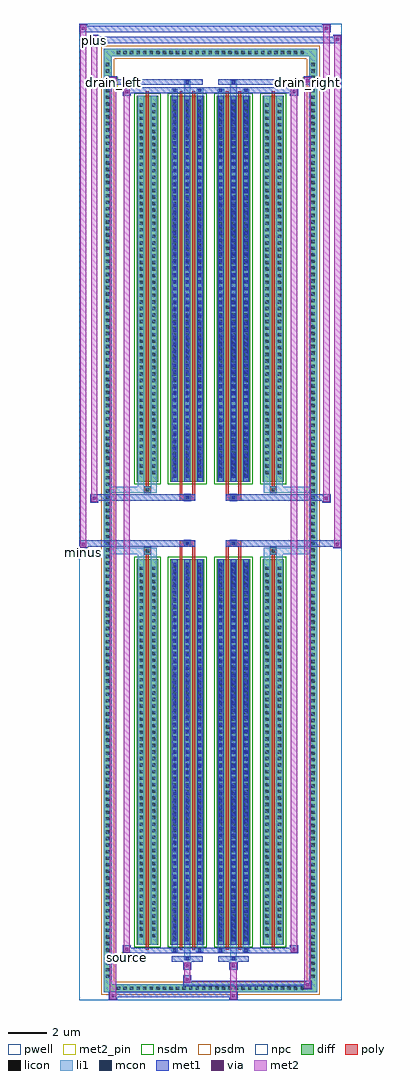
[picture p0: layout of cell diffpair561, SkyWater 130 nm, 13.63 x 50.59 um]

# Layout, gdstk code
import gdstk
lib = gdstk.Library(unit=1e-6, precision=5e-09)
def R(c, l, rs):  # rectangles x0, y0, x1, y1
    for r in rs: c.add(gdstk.rectangle(r[:2], r[2:], *l))
def A(c, l, x, y, w, h, nx, ny, dx, dy):  # array of equal rectangles
    R(c, l, [(x+i*dx, y+j*dy, x+i*dx+w, y+j*dy+h) for i in range(nx) for j in range(ny)])
def P(c, l, *ps):  # polygons
    for p in ps: c.add(gdstk.Polygon(p, *l))
pwell = (64, 44)
diff = (65, 20)
poly = (66, 20)
licon = (66, 44)
li1 = (67, 20)
mcon = (67, 44)
met1 = (68, 20)
via = (68, 44)
met2_pin = (69, 16)
met2 = (69, 20)
nsdm = (93, 44)
psdm = (94, 20)
npc = (95, 20)

diffpair561 = lib.new_cell('diffpair561')
R(diffpair561, pwell, [(-6.8,-24.86,6.8,25.73), (-4.12,-23.05,-0.01,-0.825), (0.01,-23.05,4.12,-0.825), (-4.12,0.825,-0.01,23.05), (0.01,0.825,4.12,23.05)])
A(diffpair561, diff, -4.965, -24.46, 0.41, 0.41, 29, 2, 0.34, 48.51)
A(diffpair561, diff, -5.53, -23.835, 0.41, 0.41, 1, 140, 0, 0.34)
A(diffpair561, diff, 5.12, -23.835, 0.41, 0.41, 1, 140, 0, 0.34)
R(diffpair561, diff, [(-4.965,-24.46,4.965,-24.05), (-5.53,-23.835,-5.12,23.835), (5.12,-23.835,5.53,23.835), (-3.81,-22.005,-2.71,-2.005), (-2.07,-22.005,-0.32,-2.005), (0.32,-22.005,2.07,-2.005), (2.71,-22.005,3.81,-2.005), (-3.81,2.005,-2.71,22.005), (-2.07,2.005,-0.32,22.005), (0.32,2.005,2.07,22.005), (2.71,2.005,3.81,22.005), (-4.965,24.05,4.965,24.46)])
P(diffpair561, diff, [(5.53,24.46),(-5.53,24.46),(-5.53,-24.05),(-5.12,-24.05),(-5.12,24.05),(5.12,24.05),(5.12,-24.05),(-5.12,-24.05),(-5.53,-24.05),(-5.53,-24.46),(5.53,-24.46)])
R(diffpair561, poly, [(-3.335,-22.255,-3.185,-1.755), (-1.595,-22.255,-1.445,-1.755), (-0.945,-22.255,-0.795,-1.755), (0.795,-22.255,0.945,-1.755), (1.445,-22.255,1.595,-1.755), (3.185,-22.255,3.335,-1.755), (-3.425,-1.755,-3.095,-1.425), (-3.425,-1.755,-3.095,-1.425), (-1.595,-1.755,-1.445,-1.355), (-0.945,-1.755,-0.795,-1.355), (0.795,-1.755,0.945,-1.355), (1.445,-1.755,1.595,-1.355), (3.095,-1.755,3.425,-1.425), (3.095,-1.755,3.425,-1.425), (-1.595,-1.355,-0.795,-1.025), (-1.36,-1.355,-1.03,-1.025), (0.795,-1.355,1.595,-1.025), (1.03,-1.355,1.36,-1.025), (-1.595,1.025,-0.795,1.355), (-1.36,1.025,-1.03,1.355), (0.795,1.025,1.595,1.355), (1.03,1.025,1.36,1.355), (-1.595,1.355,-1.445,1.755), (-0.945,1.355,-0.795,1.755), (0.795,1.355,0.945,1.755), (1.445,1.355,1.595,1.755), (-3.425,1.425,-3.095,1.755), (-3.425,1.425,-3.095,1.755), (3.095,1.425,3.425,1.755), (3.095,1.425,3.425,1.755), (-3.335,1.755,-3.185,22.255), (-1.595,1.755,-1.445,22.255), (-0.945,1.755,-0.795,22.255), (0.795,1.755,0.945,22.255), (1.445,1.755,1.595,22.255), (3.185,1.755,3.335,22.255)])
A(diffpair561, licon, -4.845, -24.34, 0.17, 0.17, 29, 2, 0.34, 48.51)
A(diffpair561, licon, -5.41, -23.715, 0.17, 0.17, 1, 140, 0, 0.34)
A(diffpair561, licon, 5.24, -23.715, 0.17, 0.17, 1, 140, 0, 0.34)
A(diffpair561, licon, -3.67, -21.61, 0.17, 0.17, 1, 57, 0, 0.34)
A(diffpair561, licon, -3.02, -21.61, 0.17, 0.17, 1, 57, 0, 0.34)
A(diffpair561, licon, -1.93, -21.61, 0.17, 0.17, 3, 57, 0.65, 0.34)
A(diffpair561, licon, 0.46, -21.61, 0.17, 0.17, 3, 57, 0.65, 0.34)
A(diffpair561, licon, 2.85, -21.61, 0.17, 0.17, 1, 57, 0, 0.34)
A(diffpair561, licon, 3.5, -21.61, 0.17, 0.17, 1, 57, 0, 0.34)
A(diffpair561, licon, -3.67, 2.4, 0.17, 0.17, 1, 57, 0, 0.34)
A(diffpair561, licon, -3.02, 2.4, 0.17, 0.17, 1, 57, 0, 0.34)
A(diffpair561, licon, -1.93, 2.4, 0.17, 0.17, 3, 57, 0.65, 0.34)
A(diffpair561, licon, 0.46, 2.4, 0.17, 0.17, 3, 57, 0.65, 0.34)
A(diffpair561, licon, 2.85, 2.4, 0.17, 0.17, 1, 57, 0, 0.34)
A(diffpair561, licon, 3.5, 2.4, 0.17, 0.17, 1, 57, 0, 0.34)
R(diffpair561, licon, [(-3.345,-1.675,-3.175,-1.505), (3.175,-1.675,3.345,-1.505), (-1.28,-1.275,-1.11,-1.105), (1.11,-1.275,1.28,-1.105), (-1.28,1.105,-1.11,1.275), (1.11,1.105,1.28,1.275), (-3.345,1.505,-3.175,1.675), (3.175,1.505,3.345,1.675)])
A(diffpair561, li1, -4.925, -24.42, 0.33, 0.33, 29, 2, 0.34, 48.51)
A(diffpair561, li1, -5.49, -23.795, 0.33, 0.33, 1, 140, 0, 0.34)
A(diffpair561, li1, 5.16, -23.795, 0.33, 0.33, 1, 140, 0, 0.34)
A(diffpair561, li1, -2.01, -22.005, 0.33, 20, 3, 2, 0.65, 24.01)
A(diffpair561, li1, 0.38, -22.005, 0.33, 20, 3, 2, 0.65, 24.01)
A(diffpair561, li1, -1.93, -21.81, 0.17, 0.17, 3, 55, 0.65, 0.36)
A(diffpair561, li1, -1.93, -21.81, 0.17, 19.61, 3, 2, 0.65, 24.01)
A(diffpair561, li1, 0.46, -21.81, 0.17, 0.17, 3, 55, 0.65, 0.36)
A(diffpair561, li1, 0.46, -21.81, 0.17, 19.61, 3, 2, 0.65, 24.01)
A(diffpair561, li1, -3.75, -21.69, 0.33, 0.33, 1, 57, 0, 0.34)
A(diffpair561, li1, -3.1, -21.69, 0.33, 0.33, 1, 57, 0, 0.34)
A(diffpair561, li1, -2.01, -21.69, 0.33, 0.33, 3, 57, 0.65, 0.34)
A(diffpair561, li1, 0.38, -21.69, 0.33, 0.33, 3, 57, 0.65, 0.34)
A(diffpair561, li1, 2.77, -21.69, 0.33, 0.33, 1, 57, 0, 0.34)
A(diffpair561, li1, 3.42, -21.69, 0.33, 0.33, 1, 57, 0, 0.34)
A(diffpair561, li1, -1.93, 2.2, 0.17, 0.17, 3, 55, 0.65, 0.36)
A(diffpair561, li1, 0.46, 2.2, 0.17, 0.17, 3, 55, 0.65, 0.36)
A(diffpair561, li1, -3.75, 2.32, 0.33, 0.33, 1, 57, 0, 0.34)
A(diffpair561, li1, -3.1, 2.32, 0.33, 0.33, 1, 57, 0, 0.34)
A(diffpair561, li1, -2.01, 2.32, 0.33, 0.33, 3, 57, 0.65, 0.34)
A(diffpair561, li1, 0.38, 2.32, 0.33, 0.33, 3, 57, 0.65, 0.34)
A(diffpair561, li1, 2.77, 2.32, 0.33, 0.33, 1, 57, 0, 0.34)
A(diffpair561, li1, 3.42, 2.32, 0.33, 0.33, 1, 57, 0, 0.34)
R(diffpair561, li1, [(-5.53,-24.46,-5.12,-24.05), (-5.53,-24.46,-5.12,-24.05), (-5.12,-24.46,5.12,-24.05), (5.12,-24.46,5.53,-24.05), (5.12,-24.46,5.53,-24.05), (-5.53,-24.05,-5.12,24.05), (5.12,-24.05,5.53,24.05), (-1.36,-22.81,-1.03,-22.005), (-1.28,-22.81,-1.11,-22.64), (1.03,-22.81,1.36,-22.005), (1.11,-22.81,1.28,-22.64), (-2.01,-22.38,-1.68,-22.005), (-1.93,-22.38,-1.76,-22.21), (-0.71,-22.38,-0.38,-22.005), (-0.63,-22.38,-0.46,-22.21), (0.38,-22.38,0.71,-22.005), (0.46,-22.38,0.63,-22.21), (1.68,-22.38,2.01,-22.005), (1.76,-22.38,1.93,-22.21), (-3.75,-22.005,-3.42,-2.005), (-3.1,-22.005,-2.77,-2.005), (2.77,-22.005,3.1,-2.005), (3.42,-22.005,3.75,-2.005), (-3.75,-2.005,-3.42,-1.425), (-3.1,-2.005,-2.77,-1.425), (2.77,-2.005,3.1,-1.425), (3.42,-2.005,3.75,-1.425), (-5.53,-1.755,-3.425,-1.425), (-3.75,-1.755,-3.425,-1.425), (-3.425,-1.755,-3.095,-1.425), (-3.095,-1.755,-2.77,-1.425), (2.77,-1.755,3.095,-1.425), (3.095,-1.755,3.425,-1.425), (3.095,-1.755,5.53,-1.425), (3.425,-1.755,3.75,-1.425), (-1.36,-1.355,-1.03,-1.025), (1.03,-1.355,1.36,-1.025), (-1.36,1.025,-1.03,1.355), (1.03,1.025,1.36,1.355), (-5.53,1.425,-3.425,1.755), (-3.75,1.425,-3.425,1.755), (-3.75,1.425,-3.42,2.005), (-3.425,1.425,-3.095,1.755), (-3.1,1.425,-2.77,2.005), (-3.095,1.425,-2.77,1.755), (2.77,1.425,3.095,1.755), (2.77,1.425,3.1,2.005), (3.095,1.425,3.425,1.755), (3.095,1.425,5.53,1.755), (3.42,1.425,3.75,2.005), (3.425,1.425,3.75,1.755), (-3.75,2.005,-3.42,22.005), (-3.1,2.005,-2.77,22.005), (2.77,2.005,3.1,22.005), (3.42,2.005,3.75,22.005), (-2.01,22.005,-1.68,22.38), (-1.36,22.005,-1.03,22.81), (-0.71,22.005,-0.38,22.38), (0.38,22.005,0.71,22.38), (1.03,22.005,1.36,22.81), (1.68,22.005,2.01,22.38), (-1.93,22.21,-1.76,22.38), (-0.63,22.21,-0.46,22.38), (0.46,22.21,0.63,22.38), (1.76,22.21,1.93,22.38), (-1.28,22.64,-1.11,22.81), (1.11,22.64,1.28,22.81), (-5.53,24.05,-5.12,24.46), (-5.53,24.05,-5.12,24.46), (-5.12,24.05,5.12,24.46), (5.12,24.05,5.53,24.46), (5.12,24.05,5.53,24.46)])
A(diffpair561, mcon, -1.93, -21.81, 0.17, 0.17, 3, 55, 0.65, 0.36)
A(diffpair561, mcon, 0.46, -21.81, 0.17, 0.17, 3, 55, 0.65, 0.36)
A(diffpair561, mcon, -1.93, 2.2, 0.17, 0.17, 3, 55, 0.65, 0.36)
A(diffpair561, mcon, 0.46, 2.2, 0.17, 0.17, 3, 55, 0.65, 0.36)
R(diffpair561, mcon, [(-1.28,-22.81,-1.11,-22.64), (1.11,-22.81,1.28,-22.64), (-1.93,-22.38,-1.76,-22.21), (-0.63,-22.38,-0.46,-22.21), (0.46,-22.38,0.63,-22.21), (1.76,-22.38,1.93,-22.21), (-1.28,-1.275,-1.11,-1.105), (1.11,-1.275,1.28,-1.105), (-1.28,1.105,-1.11,1.275), (1.11,1.105,1.28,1.275), (-1.93,22.21,-1.76,22.38), (-0.63,22.21,-0.46,22.38), (0.46,22.21,0.63,22.38), (1.76,22.21,1.93,22.38), (-1.28,22.64,-1.11,22.81), (1.11,22.64,1.28,22.81)])
A(diffpair561, met1, -1.99, -22.005, 0.29, 20, 3, 2, 0.65, 24.01)
A(diffpair561, met1, 0.4, -22.005, 0.29, 20, 3, 2, 0.65, 24.01)
A(diffpair561, met1, -1.99, -21.87, 0.29, 0.29, 3, 55, 0.65, 0.36)
A(diffpair561, met1, 0.4, -21.87, 0.29, 0.29, 3, 55, 0.65, 0.36)
A(diffpair561, met1, -1.99, 2.14, 0.29, 0.29, 3, 55, 0.65, 0.36)
A(diffpair561, met1, 0.4, 2.14, 0.29, 0.29, 3, 55, 0.65, 0.36)
R(diffpair561, met1, [(-5.26,-24.86,-4.83,-24.43), (0.98,-24.86,1.41,-24.43), (-5.26,-24.72,1.41,-24.43), (4.83,-24.29,5.26,-23.86), (-1.41,-24.15,5.26,-23.86), (-1.41,-24.01,-0.98,-23.58), (-1.41,-23.3,-0.98,-22.87), (0.98,-23.3,1.41,-22.87), (-1.99,-22.87,-0.4,-22.58), (-1.34,-22.87,-1.05,-22.58), (0.4,-22.87,1.99,-22.58), (1.05,-22.87,1.34,-22.58), (-4.55,-22.44,-4.12,-22.01), (-4.55,-22.44,-1.99,-22.15), (-1.99,-22.44,-1.7,-22.15), (-1.99,-22.44,-0.4,-22.15), (-0.69,-22.44,-0.4,-22.15), (-0.4,-22.44,0.4,-22.15), (0.4,-22.44,0.69,-22.15), (0.4,-22.44,1.99,-22.15), (1.7,-22.44,1.99,-22.15), (1.99,-22.44,4.55,-22.15), (4.12,-22.44,4.55,-22.01), (-6.8,-1.455,-6.37,-1.025), (6.37,-1.455,6.8,-1.025), (-6.8,-1.355,-0.795,-1.025), (-1.595,-1.355,-0.795,-1.025), (0.795,-1.355,1.595,-1.025), (0.795,-1.355,6.8,-1.025), (-1.34,-1.335,-1.05,-1.045), (1.05,-1.335,1.34,-1.045), (-6.23,0.925,-5.8,1.355), (5.8,0.925,6.23,1.355), (-6.23,1.025,-1.595,1.355), (-1.595,1.025,-0.795,1.355), (0.795,1.025,1.595,1.355), (1.595,1.025,6.23,1.355), (-1.34,1.045,-1.05,1.335), (1.05,1.045,1.34,1.335), (-4.55,22.01,-4.12,22.44), (4.12,22.01,4.55,22.44), (-4.55,22.15,-1.99,22.44), (-1.99,22.15,-1.7,22.44), (-1.99,22.15,-0.4,22.44), (-0.69,22.15,-0.4,22.44), (-0.4,22.15,0.4,22.44), (0.4,22.15,0.69,22.44), (0.4,22.15,1.99,22.44), (1.7,22.15,1.99,22.44), (1.99,22.15,4.55,22.44), (-5.26,22.58,-4.83,23.01), (-5.26,22.58,-1.99,22.87), (-1.99,22.58,-0.4,22.87), (-1.34,22.58,-1.05,22.87), (0.4,22.58,1.99,22.87), (1.05,22.58,1.34,22.87), (1.99,22.58,5.26,22.87), (4.83,22.58,5.26,23.01), (-6.23,24.73,-5.8,25.16), (-6.23,24.73,-4.12,25.06), (-4.12,24.73,4.12,25.06), (4.12,24.73,6.8,25.06), (6.37,24.73,6.8,25.16), (-6.8,25.3,-6.37,25.73), (-6.8,25.3,-4.12,25.63), (-4.12,25.3,4.12,25.63), (4.12,25.3,6.23,25.63), (5.8,25.3,6.23,25.73)])
R(diffpair561, via, [(-5.12,-24.72,-4.97,-24.57), (1.12,-24.72,1.27,-24.57), (4.97,-24.15,5.12,-24), (-1.27,-23.87,-1.12,-23.72), (-1.27,-23.16,-1.12,-23.01), (1.12,-23.16,1.27,-23.01), (-4.41,-22.3,-4.26,-22.15), (4.26,-22.3,4.41,-22.15), (-6.66,-1.315,-6.51,-1.165), (6.51,-1.315,6.66,-1.165), (-6.09,1.065,-5.94,1.215), (5.94,1.065,6.09,1.215), (-4.41,22.15,-4.26,22.3), (4.26,22.15,4.41,22.3), (-5.12,22.72,-4.97,22.87), (4.97,22.72,5.12,22.87), (-6.09,24.87,-5.94,25.02), (6.51,24.87,6.66,25.02), (-6.66,25.44,-6.51,25.59), (5.94,25.44,6.09,25.59)])
R(diffpair561, met2_pin, [(-4.585,-22.89,-4.085,-22.39), (-6.835,-1.905,-6.335,-1.405), (-5.295,22.46,-4.795,22.96), (4.795,22.46,5.295,22.96), (-6.265,24.61,-5.765,25.11)])
R(diffpair561, met2, [(-5.21,-24.81,-4.88,-24.48), (-5.21,-24.81,-4.88,22.96), (1.03,-24.81,1.36,-24.48), (1.03,-24.48,1.36,-23.25), (4.88,-24.24,5.21,-23.91), (4.88,-24.24,5.21,22.96), (-1.36,-23.96,-1.03,-23.63), (-1.36,-23.63,-1.03,-23.25), (-1.36,-23.25,-1.03,-22.92), (1.03,-23.25,1.36,-22.92), (-4.5,-22.39,-4.17,-22.06), (-4.5,-22.39,-4.17,22.39), (4.17,-22.39,4.5,-22.06), (4.17,-22.39,4.5,22.39), (-6.75,-1.405,-6.42,-1.075), (-6.75,-1.405,-6.42,25.68), (6.42,-1.405,6.75,-1.075), (6.42,-1.405,6.75,25.11), (-6.18,0.975,-5.85,1.305), (-6.18,0.975,-5.85,25.11), (5.85,0.975,6.18,1.305), (5.85,0.975,6.18,25.68), (-4.5,22.06,-4.17,22.39), (4.17,22.06,4.5,22.39), (-5.21,22.63,-4.88,22.96), (4.88,22.63,5.21,22.96), (-6.18,24.78,-5.85,25.11), (6.42,24.78,6.75,25.11), (-6.75,25.35,-6.42,25.68), (5.85,25.35,6.18,25.68)])
P(diffpair561, met2, [(6.75,-1.405),(6.75,-1.405),(6.75,-1.075),(6.75,-1.075)],
  [(6.75,24.78),(6.75,24.78),(6.75,25.11),(6.75,25.11)],
  [(-6.42,-1.405),(-6.42,-1.405),(-6.42,-1.075),(-6.42,-1.075)],
  [(-6.42,25.35),(-6.42,25.35),(-6.42,25.68),(-6.42,25.68)],
  [(6.18,0.975),(6.18,0.975),(6.18,1.305),(6.18,1.305)],
  [(6.18,25.35),(6.18,25.35),(6.18,25.68),(6.18,25.68)],
  [(-5.85,0.975),(-5.85,0.975),(-5.85,1.305),(-5.85,1.305)],
  [(-5.85,24.78),(-5.85,24.78),(-5.85,25.11),(-5.85,25.11)],
  [(-4.88,-24.81),(-4.88,-24.81),(-4.88,-24.48),(-4.88,-24.48)],
  [(-4.88,22.63),(-4.88,22.63),(-4.88,22.96),(-4.88,22.96)],
  [(5.21,-24.24),(5.21,-24.24),(5.21,-23.91),(5.21,-23.91)],
  [(5.21,22.63),(5.21,22.63),(5.21,22.96),(5.21,22.96)],
  [(-4.17,-22.39),(-4.17,-22.39),(-4.17,-22.06),(-4.17,-22.06)],
  [(-4.17,22.06),(-4.17,22.06),(-4.17,22.39),(-4.17,22.39)],
  [(4.5,-22.39),(4.5,-22.39),(4.5,-22.06),(4.5,-22.06)],
  [(4.5,22.06),(4.5,22.06),(4.5,22.39),(4.5,22.39)])
R(diffpair561, nsdm, [(-3.94,-22.135,-2.58,-1.875), (-2.2,-22.135,-0.19,-1.875), (0.19,-22.135,2.2,-1.875), (2.58,-22.135,3.94,-1.875), (-3.94,1.875,-2.58,22.135), (-2.2,1.875,-0.19,22.135), (0.19,1.875,2.2,22.135), (2.58,1.875,3.94,22.135)])
P(diffpair561, psdm, [(5.66,24.59),(-5.66,24.59),(-5.66,-23.92),(-4.99,-23.92),(-4.99,23.92),(4.99,23.92),(4.99,-23.92),(-4.99,-23.92),(-5.66,-23.92),(-5.66,-24.59),(5.66,-24.59)])
R(diffpair561, npc, [(-3.445,-1.775,-3.075,-1.405), (3.075,-1.775,3.445,-1.405), (-1.38,-1.375,-1.01,-1.005), (1.01,-1.375,1.38,-1.005), (-1.38,1.005,-1.01,1.375), (1.01,1.005,1.38,1.375), (-3.445,1.405,-3.075,1.775), (3.075,1.405,3.445,1.775)])
diffpair561.add(gdstk.Label('minus', (-6.585,-1.655), layer=69, texttype=5))
diffpair561.add(gdstk.Label('drain_right', (5.045,22.71), layer=69, texttype=5))
diffpair561.add(gdstk.Label('drain_left', (-5.045,22.71), layer=69, texttype=5))
diffpair561.add(gdstk.Label('source', (-4.335,-22.64), layer=69, texttype=5))
diffpair561.add(gdstk.Label('plus', (-6.015,24.86), layer=69, texttype=5))

lib.write_gds('diffpair561.gds')
